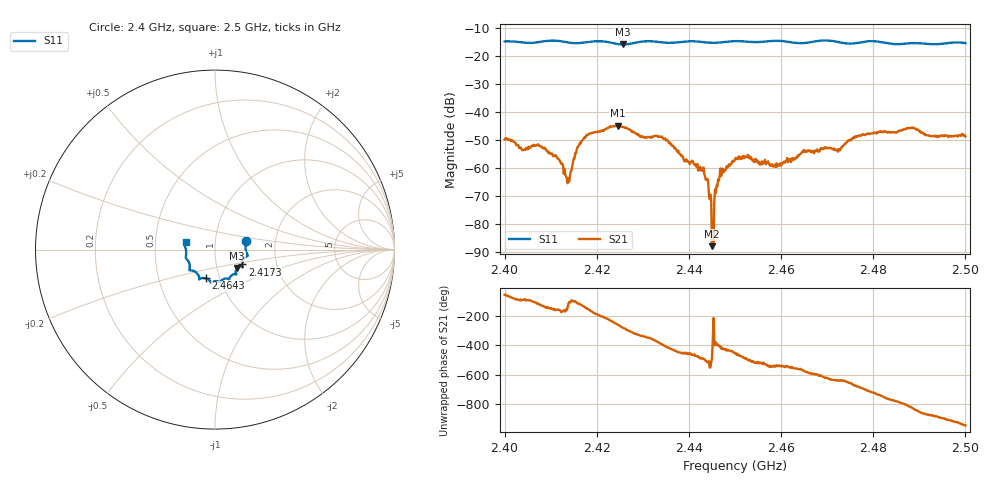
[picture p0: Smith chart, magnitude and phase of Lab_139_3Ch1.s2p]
# Hz S RI R 50
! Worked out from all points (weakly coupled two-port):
!   601 points, 2.4 GHz to 2.5 GHz, reference 50 ohm
!   highest |S21| = -44.81 dB at 2.4245 GHz (marker M1); lowest = -87.8 dB at 2.445 GHz (marker M2)
!   lowest |S11| = -15.9 dB at 2.4257 GHz (marker M3), VSWR 1.38, Z = 62.4 - j13.1 ohm
!   |S11| at or under -10 dB: start of sweep to end of sweep
!   S12 and S22 are empty: the file has one direction only
!   S11 on the Smith chart (normalised r, x): 2.4 GHz: 1.41, +0.14; 2.4173 GHz: 1.34, -0.23; 2.4643 GHz: 0.86, -0.28; 2.5 GHz: 0.72, +0.06
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2.4e9  0.1737 0.0495  0.00189 -0.00265  0 0  0 0
2.404e9  0.1715 0.025  7.58e-05 -0.00211  0 0  0 0
2.408333e9  0.1796 -0.0241  -0.00155 -0.0017  0 0  0 0
2.4115e9  0.1818 -0.0354  -0.00133 -0.000654  0 0  0 0
2.413667e9  0.1683 -0.0441  -0.000418 -0.00034  0 0  0 0
2.416667e9  0.1528 -0.075  -0.00171 -0.00248  0 0  0 0
2.417333e9  0.1522 -0.0826  -0.0025 -0.00248  0 0  0 0
2.4245e9  0.1318 -0.0957  -0.00118 0.00562  0 0  0 0
2.425667e9  0.1225 -0.1024  0.000925 0.00537  0 0  0 0
2.433333e9  0.1125 -0.1364  0.00338 -0.00114  0 0  0 0
2.442833e9  0.0709 -0.1623  -0.000572 -0.000694  0 0  0 0
2.443667e9  0.0655 -0.1608  -0.000515 -0.000337  0 0  0 0
2.445e9  0.0553 -0.1618  -2.7e-05 -3.05e-05  0 0  0 0
2.4455e9  0.0511 -0.163  0.000246 2.76e-06  0 0  0 0
2.446e9  0.047 -0.1648  0.000409 -0.000264  0 0  0 0
2.446833e9  0.0412 -0.1684  0.000683 -0.000713  0 0  0 0
2.45e9  0.0295 -0.1809  -4.75e-05 -0.00143  0 0  0 0
2.458667e9  -0.0206 -0.1845  -0.0011 0.000104  0 0  0 0
2.464333e9  -0.0502 -0.1602  -0.00166 0.000742  0 0  0 0
2.466667e9  -0.0763 -0.1594  -0.00112 0.00164  0 0  0 0
2.483333e9  -0.1409 -0.0894  0.00304 -0.00324  0 0  0 0
2.5e9  -0.1636 0.0418  -0.00248 0.0027  0 0  0 0
